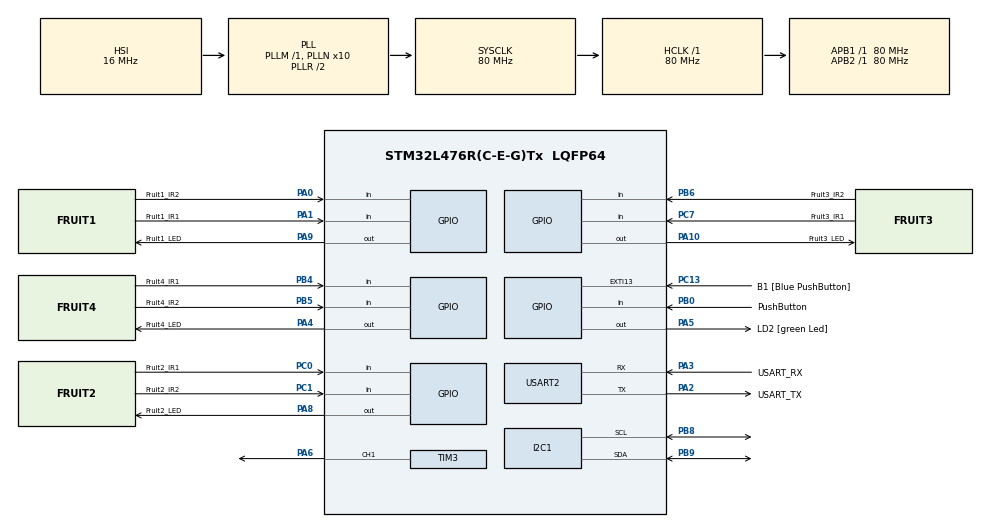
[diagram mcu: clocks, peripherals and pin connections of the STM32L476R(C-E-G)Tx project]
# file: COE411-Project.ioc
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FREERTOS.Tasks01=defaultTask,24,128,StartDefaultTask,Default,NULL,Dynamic,NULL,NULL
I2C1.Timing=0x10D19CE4
Mcu.Family=STM32L4
Mcu.Name=STM32L476R(C-E-G)Tx
Mcu.Package=LQFP64
NVIC.EXTI15_10_IRQn=true\:5\:0\:false\:false\:true\:true\:true\:true\:true
NVIC.PriorityGroup=NVIC_PRIORITYGROUP_4
PA0.GPIO_Label=Fruit1_IR2
PA0.Signal=GPIO_Input
PA1.GPIO_Label=Fruit1_IR1
PA1.GPIO_PuPd=GPIO_NOPULL
PA1.Signal=GPIO_Input
PA10.GPIO_Label=Fruit3_LED
PA10.Signal=GPIO_Output
PA13\ (JTMS-SWDIO).GPIO_Label=TMS
PA13\ (JTMS-SWDIO).Mode=Serial_Wire
PA13\ (JTMS-SWDIO).Signal=SYS_JTMS-SWDIO
PA14\ (JTCK-SWCLK).GPIO_Label=TCK
PA14\ (JTCK-SWCLK).Mode=Serial_Wire
PA14\ (JTCK-SWCLK).Signal=SYS_JTCK-SWCLK
PA2.GPIO_Label=USART_TX
PA2.GPIO_Mode=GPIO_MODE_AF_PP
PA2.GPIO_PuPd=GPIO_NOPULL
PA2.GPIO_Speed=GPIO_SPEED_FREQ_VERY_HIGH
PA2.Mode=Asynchronous
PA2.Signal=USART2_TX
PA3.GPIO_Label=USART_RX
PA3.GPIO_Mode=GPIO_MODE_AF_PP
PA3.GPIO_PuPd=GPIO_NOPULL
PA3.GPIO_Speed=GPIO_SPEED_FREQ_VERY_HIGH
PA3.Mode=Asynchronous
PA3.Signal=USART2_RX
PA4.GPIO_Label=Fruit4_LED
PA4.Signal=GPIO_Output
PA5.GPIO_Label=LD2 [green Led]
PA5.GPIO_ModeDefaultOutputPP=GPIO_MODE_OUTPUT_PP
PA5.GPIO_PuPd=GPIO_NOPULL
PA5.GPIO_Speed=GPIO_SPEED_FREQ_LOW
PA5.Signal=GPIO_Output
PA6.Signal=S_TIM3_CH1
PA8.GPIO_Label=Fruit2_LED
PA8.Signal=GPIO_Output
PA9.GPIO_Label=Fruit1_LED
PA9.GPIO_ModeDefaultOutputPP=GPIO_MODE_OUTPUT_PP
PA9.Signal=GPIO_Output
PB0.GPIO_Label=PushButton
PB0.GPIO_PuPd=GPIO_PULLUP
PB0.Signal=GPIO_Input
PB3\ (JTDO-TRACESWO).GPIO_Label=SWO
PB3\ (JTDO-TRACESWO).Signal=SYS_JTDO-SWO
PB4\ (NJTRST).GPIO_Label=Fruit4_IR1
PB4\ (NJTRST).Signal=GPIO_Input
PB5.GPIO_Label=Fruit4_IR2
PB5.Signal=GPIO_Input
PB6.GPIO_Label=Fruit3_IR2
PB6.Signal=GPIO_Input
PB8.GPIO_Pu=GPIO_PULLUP
PB8.Mode=I2C
PB8.Signal=I2C1_SCL
PB9.GPIO_Pu=GPIO_PULLUP
PB9.Mode=I2C
PB9.Signal=I2C1_SDA
PC0.GPIO_Label=Fruit2_IR1
PC0.Signal=GPIO_Input
PC1.GPIO_Label=Fruit2_IR2
PC1.Signal=GPIO_Input
PC13.GPIO_Label=B1 [Blue PushButton]
PC13.GPIO_ModeDefaultEXTI=GPIO_MODE_IT_FALLING
PC13.GPIO_PuPd=GPIO_NOPULL
PC13.Signal=GPXTI13
PC14-OSC32_IN\ (PC14).Mode=LSE-External-Oscillator
PC14-OSC32_IN\ (PC14).Signal=RCC_OSC32_IN
PC15-OSC32_OUT\ (PC15).Mode=LSE-External-Oscillator
PC15-OSC32_OUT\ (PC15).Signal=RCC_OSC32_OUT
PC7.GPIO_Label=Fruit3_IR1
PC7.Signal=GPIO_Input
PH0-OSC_IN\ (PH0).Signal=RCC_OSC_IN
PH1-OSC_OUT\ (PH1).Signal=RCC_OSC_OUT
ProjectManager.HeapSize=0x200
ProjectManager.StackSize=0x400
ProjectManager.TargetToolchain=STM32CubeIDE
RCC.ADCFreq_Value=64000000
RCC.AHBFreq_Value=80000000
RCC.APB1Freq_Value=80000000
RCC.APB1TimFreq_Value=80000000
RCC.APB2Freq_Value=80000000
RCC.APB2TimFreq_Value=80000000
RCC.CortexFreq_Value=80000000
RCC.HCLKFreq_Value=80000000
RCC.HSE_VALUE=8000000
RCC.HSI_VALUE=16000000
RCC.MSI_VALUE=4000000
RCC.PLLN=10
RCC.PLLSourceVirtual=RCC_PLLSOURCE_HSI
RCC.PREFETCH_ENABLE=1
RCC.SYSCLKFreq_VALUE=80000000
RCC.SYSCLKSource=RCC_SYSCLKSOURCE_PLLCLK
RCC.USBFreq_Value=64000000
RCC.VCOOutputFreq_Value=160000000
SH.S_TIM3_CH1.0=TIM3_CH1,PWM Generation1 CH1
TIM3.Channel-PWM\ Generation1\ CH1=TIM_CHANNEL_1
TIM3.Period=999
TIM3.Prescaler=79
TIM3.Pulse-PWM\ Generation1\ CH1=25
USART2.VirtualMode-Asynchronous=VM_ASYNC
VP_FREERTOS_VS_CMSIS_V2.Mode=CMSIS_V2
board=NUCLEO-L476RG

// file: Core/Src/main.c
/* USER CODE BEGIN Header */
/**
  ******************************************************************************
  * @file           : main.c
  * @brief          : Main program body
  ******************************************************************************
  * @attention
  *
  * Copyright (c) 2025 STMicroelectronics.
  * All rights reserved.
  *
  * This software is licensed under terms that can be found in the LICENSE file
  * in the root directory of this software component.
  * If no LICENSE file comes with this software, it is provided AS-IS.
  *
  ******************************************************************************
  */
/* USER CODE END Header */
#include "main.h"
#include "cmsis_os.h"
#include "i2c.h"
#include "tim.h"
#include "usart.h"
#include "gpio.h"

/* USER CODE BEGIN Includes */
#include "lcd_i2c.h"
#include "FreeRTOS.h"
#include "queue.h"
#include "semphr.h"
/* USER CODE END Includes */

/* USER CODE BEGIN PTD */
// SliceEvent_t is now in main.h

extern QueueHandle_t xSliceQueue;      // IR timing events → GameTask
extern SemaphoreHandle_t xStartSem;    // Start button pressed → GameTask

static volatile uint32_t g_ir1Time = 0;
static volatile uint32_t g_ir2Time = 0;
/* USER CODE END PTD */

/* USER CODE BEGIN PV */
volatile uint32_t seconds_remaining = 0; // Start with 60 seconds (1 minute)
/* USER CODE END PV */

void SystemClock_Config(void);
void MX_FREERTOS_Init(void);

int main(void)
{

  /* MCU Configuration--------------------------------------------------------*/

  /* Reset of all peripherals, Initializes the Flash interface and the Systick. */
  HAL_Init();

  /* Configure the system clock */
  SystemClock_Config();

  /* Initialize all configured peripherals */
  MX_GPIO_Init();
  MX_USART2_UART_Init();
  MX_I2C1_Init();
  MX_TIM3_Init();
  /* USER CODE BEGIN 2 */

  HAL_TIM_PWM_Start(BUZZER_TIM, BUZZER_CHANNEL);

  /* USER CODE END 2 */

  /* Init scheduler */
  osKernelInitialize();  /* Call init function for freertos objects (in cmsis_os2.c) */
  MX_FREERTOS_Init();

  /* Start scheduler */
  osKernelStart();

  /* We should never get here as control is now taken by the scheduler */

  /* Infinite loop */
  while (1)
  {

  }
}

void SystemClock_Config(void)
{
  RCC_OscInitTypeDef RCC_OscInitStruct = {0};
  RCC_ClkInitTypeDef RCC_ClkInitStruct = {0};

  /** Configure the main internal regulator output voltage
  */
  if (HAL_PWREx_ControlVoltageScaling(PWR_REGULATOR_VOLTAGE_SCALE1) != HAL_OK)
  {
    Error_Handler();
  }

  /** Initializes the RCC Oscillators according to the specified parameters
  * in the RCC_OscInitTypeDef structure.
  */
  RCC_OscInitStruct.OscillatorType = RCC_OSCILLATORTYPE_HSI;
  RCC_OscInitStruct.HSIState = RCC_HSI_ON;
  RCC_OscInitStruct.HSICalibrationValue = RCC_HSICALIBRATION_DEFAULT;
  RCC_OscInitStruct.PLL.PLLState = RCC_PLL_ON;
  RCC_OscInitStruct.PLL.PLLSource = RCC_PLLSOURCE_HSI;
  RCC_OscInitStruct.PLL.PLLM = 1;
  RCC_OscInitStruct.PLL.PLLN = 10;
  RCC_OscInitStruct.PLL.PLLP = RCC_PLLP_DIV7;
  RCC_OscInitStruct.PLL.PLLQ = RCC_PLLQ_DIV2;
  RCC_OscInitStruct.PLL.PLLR = RCC_PLLR_DIV2;
  if (HAL_RCC_OscConfig(&RCC_OscInitStruct) != HAL_OK)
  {
    Error_Handler();
  }

  /** Initializes the CPU, AHB and APB buses clocks
  */
  RCC_ClkInitStruct.ClockType = RCC_CLOCKTYPE_HCLK|RCC_CLOCKTYPE_SYSCLK
                              |RCC_CLOCKTYPE_PCLK1|RCC_CLOCKTYPE_PCLK2;
  RCC_ClkInitStruct.SYSCLKSource = RCC_SYSCLKSOURCE_PLLCLK;
  RCC_ClkInitStruct.AHBCLKDivider = RCC_SYSCLK_DIV1;
  RCC_ClkInitStruct.APB1CLKDivider = RCC_HCLK_DIV1;
  RCC_ClkInitStruct.APB2CLKDivider = RCC_HCLK_DIV1;

  if (HAL_RCC_ClockConfig(&RCC_ClkInitStruct, FLASH_LATENCY_4) != HAL_OK)
  {
    Error_Handler();
  }
}

/* USER CODE BEGIN 4 */
//void MX_TIM3_Init(void)
//{
//	////////
// /* USER CODE BEGIN TIM3_Init 0 */
// /* USER CODE END TIM3_Init 0 */
// TIM_MasterConfigTypeDef sMasterConfig = {0};
// TIM_OC_InitTypeDef sConfigOC = {0};
// /* USER CODE BEGIN TIM3_Init 1 */
// /* USER CODE END TIM3_Init 1 */
// htim3.Instance = TIM3;
// htim3.Init.Prescaler = 79;
// htim3.Init.CounterMode = TIM_COUNTERMODE_UP;
// htim3.Init.Period = 999;
// htim3.Init.ClockDivision = TIM_CLOCKDIVISION_DIV1;
// htim3.Init.AutoReloadPreload = TIM_AUTORELOAD_PRELOAD_DISABLE;
// if (HAL_TIM_PWM_Init(&htim3) != HAL_OK)
// {
//   Error_Handler();
// }
// sMasterConfig.MasterOutputTrigger = TIM_TRGO_RESET;
// sMasterConfig.MasterSlaveMode = TIM_MASTERSLAVEMODE_DISABLE;
// if (HAL_TIMEx_MasterConfigSynchronization(&htim3, &sMasterConfig) != HAL_OK)
// {
//   Error_Handler();
// }
// sConfigOC.OCMode = TIM_OCMODE_PWM1;
// sConfigOC.Pulse = 25;
// sConfigOC.OCPolarity = TIM_OCPOLARITY_HIGH;
// sConfigOC.OCFastMode = TIM_OCFAST_DISABLE;
// if (HAL_TIM_PWM_ConfigChannel(&htim3, &sConfigOC, TIM_CHANNEL_1) != HAL_OK)
// {
//   Error_Handler();
// }
//}
 /* USER CODE BEGIN TIM3_Init 2 */
 /*
/* USER CODE END 4 */

void Error_Handler(void)
{
  __disable_irq();
  while (1)
  {
  }
}

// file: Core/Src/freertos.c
/* USER CODE BEGIN Header */
/**
  ******************************************************************************
  * File Name          : freertos.c
  * Description        : Code for freertos applications
  ******************************************************************************
  * @attention
  *
  * Copyright (c) 2025 STMicroelectronics.
  * All rights reserved.
  *
  * This software is licensed under terms that can be found in the LICENSE file
  * in the root directory of this software component.
  * If no LICENSE file comes with this software, it is provided AS-IS.
  *
  ******************************************************************************
  */
/* USER CODE END Header */

#include "FreeRTOS.h"
#include "task.h"
#include "main.h"
#include "cmsis_os.h"

/* USER CODE BEGIN Includes */
#include "queue.h"
#include "semphr.h"
#include "tim.h"
#include "lcd_i2c.h"
#include <stdio.h>
#include <stdlib.h>   // rand()
#include <string.h>   // strlen, memcpy
/* USER CODE END Includes */

/* USER CODE BEGIN PD */
#define FRUIT_TIMEOUT_MS 2000U
/* USER CODE END PD */

/* USER CODE BEGIN Variables */
osThreadId_t gameTaskHandle;
const osThreadAttr_t gameTask_attributes = {
  .name       = "gameTask",
  .stack_size = 256 * 4,
  .priority   = (osPriority_t) osPriorityNormal,
};

/* --- SOUND TASK STUFF --- */
typedef enum {
    SFX_NONE = 0,
    SFX_START,
    SFX_SLICE,
    SFX_MISS,          // NEW: missed fruit sound
    SFX_GAMEOVER_TUNE
} SfxType_t;

typedef struct {
    SfxType_t type;
} SoundEvent_t;

QueueHandle_t xSoundQueue;

osThreadId_t soundTaskHandle;
const osThreadAttr_t soundTask_attributes = {
  .name       = "soundTask",
  .stack_size = 128 * 4,
  .priority   = (osPriority_t) osPriorityBelowNormal,   // lower than game
};
/* USER CODE END Variables */

/* Definitions for defaultTask */
osThreadId_t defaultTaskHandle;
const osThreadAttr_t defaultTask_attributes = {
  .name = "defaultTask",
  .stack_size = 128 * 4,
  .priority = (osPriority_t) osPriorityNormal,
};

void StartDefaultTask(void *argument);

/* USER CODE BEGIN FunctionPrototypes */
static void Buzzer_PlayTone(uint32_t freq_hz, uint32_t dur_ms);
static void LCD_DrawTimer(uint32_t seconds);
static void UpdateTimer(TickType_t endTick, uint32_t *pLastShownSec);
static void Sound_Send(SfxType_t type);
static void PlayGameOverTune(void);
void vGameTask(void *argument);
void vSoundTask(void *argument);
/* USER CODE END FunctionPrototypes */

void MX_FREERTOS_Init(void); /* (MISRA C 2004 rule 8.1) */

void MX_FREERTOS_Init(void) {

  /* USER CODE BEGIN RTOS_QUEUES */
  xSoundQueue = xQueueCreate(8, sizeof(SoundEvent_t));
  /* USER CODE END RTOS_QUEUES */

  /* Create the thread(s) */
  //defaultTaskHandle = osThreadNew(StartDefaultTask, NULL, &defaultTask_attributes);

  /* USER CODE BEGIN RTOS_THREADS */
  gameTaskHandle  = osThreadNew(vGameTask,  NULL, &gameTask_attributes);
  soundTaskHandle = osThreadNew(vSoundTask, NULL, &soundTask_attributes);
  /* USER CODE END RTOS_THREADS */

}

void StartDefaultTask(void *argument)
{
  for(;;)
  {
    osDelay(1);
  }
}

/* USER CODE BEGIN Application */

// --- SOUND TASK ------------------------------------------------------------

// Send a sound effect request to the sound task
static void Sound_Send(SfxType_t type)
{
    if (!xSoundQueue) return;

    SoundEvent_t ev;
    ev.type = type;
    xQueueSend(xSoundQueue, &ev, 0);   // no block if full
}

// Sound task: waits for events and plays tones/tunes
void vSoundTask(void *argument)
{
    SoundEvent_t ev;

    for (;;)
    {
        if (xQueueReceive(xSoundQueue, &ev, portMAX_DELAY) == pdTRUE)
        {
            switch (ev.type)
            {
            case SFX_START:
                // start jingle
                Buzzer_PlayTone(600, 120);
                Buzzer_PlayTone(800, 120);
                Buzzer_PlayTone(1000, 150);
                break;

            case SFX_SLICE:
                // "shhhk" style fast slice: quick rising notes
                Buzzer_PlayTone(900,  40);
                Buzzer_PlayTone(1300, 40);
                Buzzer_PlayTone(1700, 50);
                break;

            case SFX_MISS:
                // sad descending "you failed" blip
                Buzzer_PlayTone(600,  80);
                Buzzer_PlayTone(400, 100);
                Buzzer_PlayTone(0,    60);
                break;

            case SFX_GAMEOVER_TUNE:
                // your longer heroic tune
                PlayGameOverTune();
                break;

            default:
                break;
            }
        }
    }
}

// --- SCORING HELPERS ------------------------------------------------------

// Compute per-slice score + bonus for fast slices
static uint32_t ComputeSliceScore(uint32_t diff_ms)
{
    if (diff_ms == 0) return 0;

    // base score: faster = larger (simple 1000/dt)
    uint32_t base = 1000 / diff_ms;
    uint32_t bonus = 0;

    // same thresholds as MakeFeedback()
    if (diff_ms <= 80) {
        bonus = 20;        // LIGHTNING SLAY
    } else if (diff_ms <= 150) {
        bonus = 10;        // SUPER FAST!
    } else {
        bonus = 0;         // others: no bonus
    }

    return base + bonus;
}

// Longer game-over tune so user really feels it's done
static void PlayGameOverTune(void)
{
    // Small heroic-ish melody, about ~1.5s total
    Buzzer_PlayTone(523, 180);  // C5
    Buzzer_PlayTone(587, 180);  // D5
    Buzzer_PlayTone(659, 180);  // E5
    Buzzer_PlayTone(698, 200);  // F5
    Buzzer_PlayTone(784, 220);  // G5
    Buzzer_PlayTone(659, 180);  // E5
    Buzzer_PlayTone(587, 200);  // D5
    Buzzer_PlayTone(523, 260);  // C5 hold
    Buzzer_PlayTone(0,   150);  // little pause
}

// Flash "TIME'S" / "UP!" on the LCD a few times
static void FlashTimesUp(void)
{
    for (int i = 0; i < 6; i++)     // 6 flashes
    {
        LCD_Clear();
        if ((i % 2) == 0) {
            LCD_SetCursor(0, 0);
            LCD_Print("    TIME'S     ");
            LCD_SetCursor(1, 0);
            LCD_Print("      UP!      ");
        }
        vTaskDelay(pdMS_TO_TICKS(200));   // 200 ms on/off
    }
}

// Center a short message on line 1 (bottom line)
static void LCD_PrintCenteredLine1(const char *msg)
{
    char line[17];
    int len = (int)strlen(msg);
    if (len > 16) len = 16;

    // fill with spaces
    for (int i = 0; i < 16; i++) line[i] = ' ';
    line[16] = '\0';

    int start = (16 - len) / 2;
    if (start < 0) start = 0;
    if (start + len > 16) start = 16 - len;

    memcpy(&line[start], msg, len);

    LCD_SetCursor(1, 0);
    LCD_Print(line);
}

// Pick a fun feedback message based on slice speed (diff_ms)
static void MakeFeedback(uint32_t diff_ms, char *outBuf, size_t bufLen)
{
    const char *msg;

    if (diff_ms <= 80) {
        msg = "LIGHTNING SLAY";
    } else if (diff_ms <= 150) {
        msg = "SUPER FAST!";
    } else if (diff_ms <= 250) {
        msg = "Nice & clean";
    } else if (diff_ms <= 400) {
        msg = "Getting there";
    } else {
        msg = "SLOW SLICE :(";
    }

    // copy into buffer (max 16 chars)
    snprintf(outBuf, bufLen, "%s", msg);
}

/* --- BUZZER HELPER -------------------------------------------------------- */
static void Buzzer_PlayTone(uint32_t freq_hz, uint32_t dur_ms)
{
    if (freq_hz == 0) {
        __HAL_TIM_SET_COMPARE(BUZZER_TIM, BUZZER_CHANNEL, 0);
        vTaskDelay(pdMS_TO_TICKS(dur_ms));
        return;
    }

    uint32_t timer_clk = 1000000; // 1 MHz after prescaler
    uint32_t period    = timer_clk / freq_hz;
    if (period == 0) period = 1;

    __HAL_TIM_SET_AUTORELOAD(BUZZER_TIM, period - 1);

    // ~8% duty cycle so it's not super loud
    uint32_t duty = period / 12;
    if (duty < 1) duty = 1;
    __HAL_TIM_SET_COMPARE(BUZZER_TIM, BUZZER_CHANNEL, duty);

    vTaskDelay(pdMS_TO_TICKS(dur_ms));

    __HAL_TIM_SET_COMPARE(BUZZER_TIM, BUZZER_CHANNEL, 0);
}

/* --- TIMER DISPLAY HELPERS ------------------------------------------------ */

/**
 * Draws "Xs" centered on line 0 (top line).
 * Example for 30:
 *   "      30s       "
 */
static void LCD_DrawTimer(uint32_t seconds)
{
    char timerStr[8];
    char line[17];
    int  len, start;

    snprintf(timerStr, sizeof(timerStr), "%lus", (unsigned long)seconds);
    len   = (int)strlen(timerStr);
    if (len > 16) len = 16;

    // fill line with spaces
    for (int i = 0; i < 16; i++) line[i] = ' ';
    line[16] = '\0';

    // center the timer string
    start = (16 - len) / 2;
    if (start < 0) start = 0;
    if (start + len > 16) start = 16 - len;

    memcpy(&line[start], timerStr, len);

    LCD_SetCursor(0, 0);
    LCD_Print(line);
}

/**
 * Recomputes remaining time from endTick and updates the timer line
 * only when the value changes.
 */
static void UpdateTimer(TickType_t endTick, uint32_t *pLastShownSec)
{
    TickType_t nowTicks = xTaskGetTickCount();
    if (nowTicks >= endTick) return;

    uint32_t msLeft  = (endTick - nowTicks) * portTICK_PERIOD_MS;
    uint32_t secLeft = msLeft / 1000;

    if (secLeft != *pLastShownSec) {
        *pLastShownSec = secLeft;
        LCD_DrawTimer(secLeft);
    }
}

/**
  * Game:
  * - Wait for button press
  * - 30 s round
  * - Random fruit lights up, wait for both IR beams to be cut
  * - Timer ("Xs") is always on line 0, centered, updating continuously
  * - Line 1 is used for messages (fruit, score, etc.)
  */
void vGameTask(void *argument)
{
    // seed RNG
    srand((unsigned int)HAL_GetTick());

    // init LCD here; only this task uses it
    LCD_Init();
    LCD_Clear();

    // Arrays to handle fruits more easily
    GPIO_TypeDef* ledPorts[4]  = {
        FRUIT1_LED_GPIO_Port, FRUIT2_LED_GPIO_Port,
        FRUIT3_LED_GPIO_Port, FRUIT4_LED_GPIO_Port
    };
    uint16_t ledPins[4] = {
        FRUIT1_LED_Pin, FRUIT2_LED_Pin,
        FRUIT3_LED_Pin, FRUIT4_LED_Pin
    };

    GPIO_TypeDef* ir1Ports[4] = {
        FRUIT1_IR1_GPIO_Port, FRUIT2_IR1_GPIO_Port,
        FRUIT3_IR1_GPIO_Port, FRUIT4_IR1_GPIO_Port
    };
    uint16_t ir1Pins[4] = {
        FRUIT1_IR1_Pin, FRUIT2_IR1_Pin,
        FRUIT3_IR1_Pin, FRUIT4_IR1_Pin
    };

    GPIO_TypeDef* ir2Ports[4] = {
        FRUIT1_IR2_GPIO_Port, FRUIT2_IR2_GPIO_Port,
        FRUIT3_IR2_GPIO_Port, FRUIT4_IR2_GPIO_Port
    };
    uint16_t ir2Pins[4] = {
        FRUIT1_IR2_Pin, FRUIT2_IR2_Pin,
        FRUIT3_IR2_Pin, FRUIT4_IR2_Pin
    };

    char feedback[17];       // message about previous slice

    for (;;)
    {
        /* ----------- IDLE SCREEN: WAIT FOR START BUTTON ----------- */
        LCD_Clear();
        LCD_SetCursor(0, 0);
        LCD_Print("Press button to");
        LCD_SetCursor(1, 0);
        LCD_Print("start slaying ;)");

        // wait until PB0 is pressed (pull-up, active LOW)
        while (HAL_GPIO_ReadPin(START_BUTTON_GPIO_Port, START_BUTTON_Pin) == GPIO_PIN_SET)
        {
            vTaskDelay(pdMS_TO_TICKS(20));
        }
        // debounce + wait for release
        vTaskDelay(pdMS_TO_TICKS(50));
        while (HAL_GPIO_ReadPin(START_BUTTON_GPIO_Port, START_BUTTON_Pin) == GPIO_PIN_RESET)
        {
            vTaskDelay(pdMS_TO_TICKS(20));
        }

        // start jingle
        Sound_Send(SFX_START);

        // game lasts 30 seconds
        TickType_t now     = xTaskGetTickCount();
        TickType_t endTick = now + pdMS_TO_TICKS(30000);
        uint32_t   lastSecShown = 0xFFFFFFFF;

        // scoring state
        uint32_t totalScore    = 0;
        uint32_t fruitsSlayed  = 0;

        // initial feedback
        snprintf(feedback, sizeof(feedback), "Ready to slay!");
        UpdateTimer(endTick, &lastSecShown);
        LCD_PrintCenteredLine1(feedback);

        /* ----------- MAIN GAME LOOP (30 s) ----------- */
        while (xTaskGetTickCount() < endTick)
        {
            // choose random fruit 0..3
            int fruit = rand() % 4;

            // turn OFF all LEDs
            for (int i = 0; i < 4; i++)
            {
                HAL_GPIO_WritePin(ledPorts[i], ledPins[i], GPIO_PIN_RESET);
            }

            // turn ON chosen fruit LED
            HAL_GPIO_WritePin(ledPorts[fruit], ledPins[fruit], GPIO_PIN_SET);

            // show feedback from PREVIOUS slice on line 1
            UpdateTimer(endTick, &lastSecShown);
            LCD_PrintCenteredLine1(feedback);

            // wait for slice: both IR beams
            TickType_t t1 = 0, t2 = 0;

            // per-fruit deadline (e.g. 2 seconds max)
            TickType_t fruitDeadline = xTaskGetTickCount() + pdMS_TO_TICKS(FRUIT_TIMEOUT_MS);

            while (xTaskGetTickCount() < endTick &&
                   xTaskGetTickCount() < fruitDeadline)
            {
                TickType_t tnow = xTaskGetTickCount();

                // continuously update timer while waiting
                UpdateTimer(endTick, &lastSecShown);

                GPIO_PinState s1 = HAL_GPIO_ReadPin(ir1Ports[fruit], ir1Pins[fruit]);
                GPIO_PinState s2 = HAL_GPIO_ReadPin(ir2Ports[fruit], ir2Pins[fruit]);

                // IR modules assumed active LOW
                if (s1 == GPIO_PIN_RESET && t1 == 0) t1 = tnow;
                if (s2 == GPIO_PIN_RESET && t2 == 0) t2 = tnow;

                if (t1 && t2) break;

                vTaskDelay(pdMS_TO_TICKS(1));
            }

            // If we exit the loop without both beams hit:
            if (!(t1 && t2))
            {
                // Case 1: whole game time is over -> end game
                if (xTaskGetTickCount() >= endTick)
                {
                    break;   // break out of the main game loop
                }

                // Case 2: fruit timeout only -> MISSED FRUIT, move to next fruit
                Sound_Send(SFX_MISS);

                snprintf(feedback, sizeof(feedback), "MISSED FRUIT!");
                UpdateTimer(endTick, &lastSecShown);
                LCD_PrintCenteredLine1(feedback);

                // short pause so player can see they messed up,
                // but still keep timer updating
                TickType_t missEnd = xTaskGetTickCount() + pdMS_TO_TICKS(500);
                while (xTaskGetTickCount() < missEnd &&
                       xTaskGetTickCount() < endTick)
                {
                    UpdateTimer(endTick, &lastSecShown);
                    vTaskDelay(pdMS_TO_TICKS(40));
                }

                // go straight to next fruit (no scoring)
                continue;
            }

            // turn off LEDs (all 4 fruits)
            for (int i = 0; i < 4; i++)
            {
                HAL_GPIO_WritePin(ledPorts[i], ledPins[i], GPIO_PIN_RESET);
            }

            // compute slice speed
            TickType_t diffTicks = (t1 > t2) ? (t1 - t2) : (t2 - t1);
            uint32_t diff_ms = diffTicks * portTICK_PERIOD_MS;

            // update scoring
            uint32_t sliceScore = ComputeSliceScore(diff_ms);
            totalScore   += sliceScore;
            fruitsSlayed += 1;

            // slice SFX
            Sound_Send(SFX_SLICE);

            // create NEW feedback based on this slice & display it
            MakeFeedback(diff_ms, feedback, sizeof(feedback));
            UpdateTimer(endTick, &lastSecShown);
            LCD_PrintCenteredLine1(feedback);

            // pause ~600 ms but keep updating timer
            TickType_t pauseEnd = xTaskGetTickCount() + pdMS_TO_TICKS(600);
            while (xTaskGetTickCount() < pauseEnd && xTaskGetTickCount() < endTick)
            {
                UpdateTimer(endTick, &lastSecShown);
                vTaskDelay(pdMS_TO_TICKS(40));
            }
        }

        /* ----------- GAME OVER SEQUENCE ----------- */

        // play tune in sound task
        Sound_Send(SFX_GAMEOVER_TUNE);

        // while tune is playing, we can flash TIME'S / UP! on LCD
        FlashTimesUp();

        // final score screen
        LCD_Clear();
        char line[17];

        // line 0: total score
        snprintf(line, sizeof(line), "Score: %6lu", (unsigned long)totalScore);
        LCD_SetCursor(0, 0);
        LCD_Print(line);

        // line 1: fruits slayed
        snprintf(line, sizeof(line), "Fruits: %3lu", (unsigned long)fruitsSlayed);
        LCD_SetCursor(1, 0);
        LCD_Print(line);

        // make sure all LEDs are off
        for (int i = 0; i < 4; i++)
        {
            HAL_GPIO_WritePin(ledPorts[i], ledPins[i], GPIO_PIN_RESET);
        }

        // let player stare at their glory for a bit
        vTaskDelay(pdMS_TO_TICKS(3000));
        // then loop back and wait for next button press (idle screen)
    }

}
/* USER CODE END Application */
